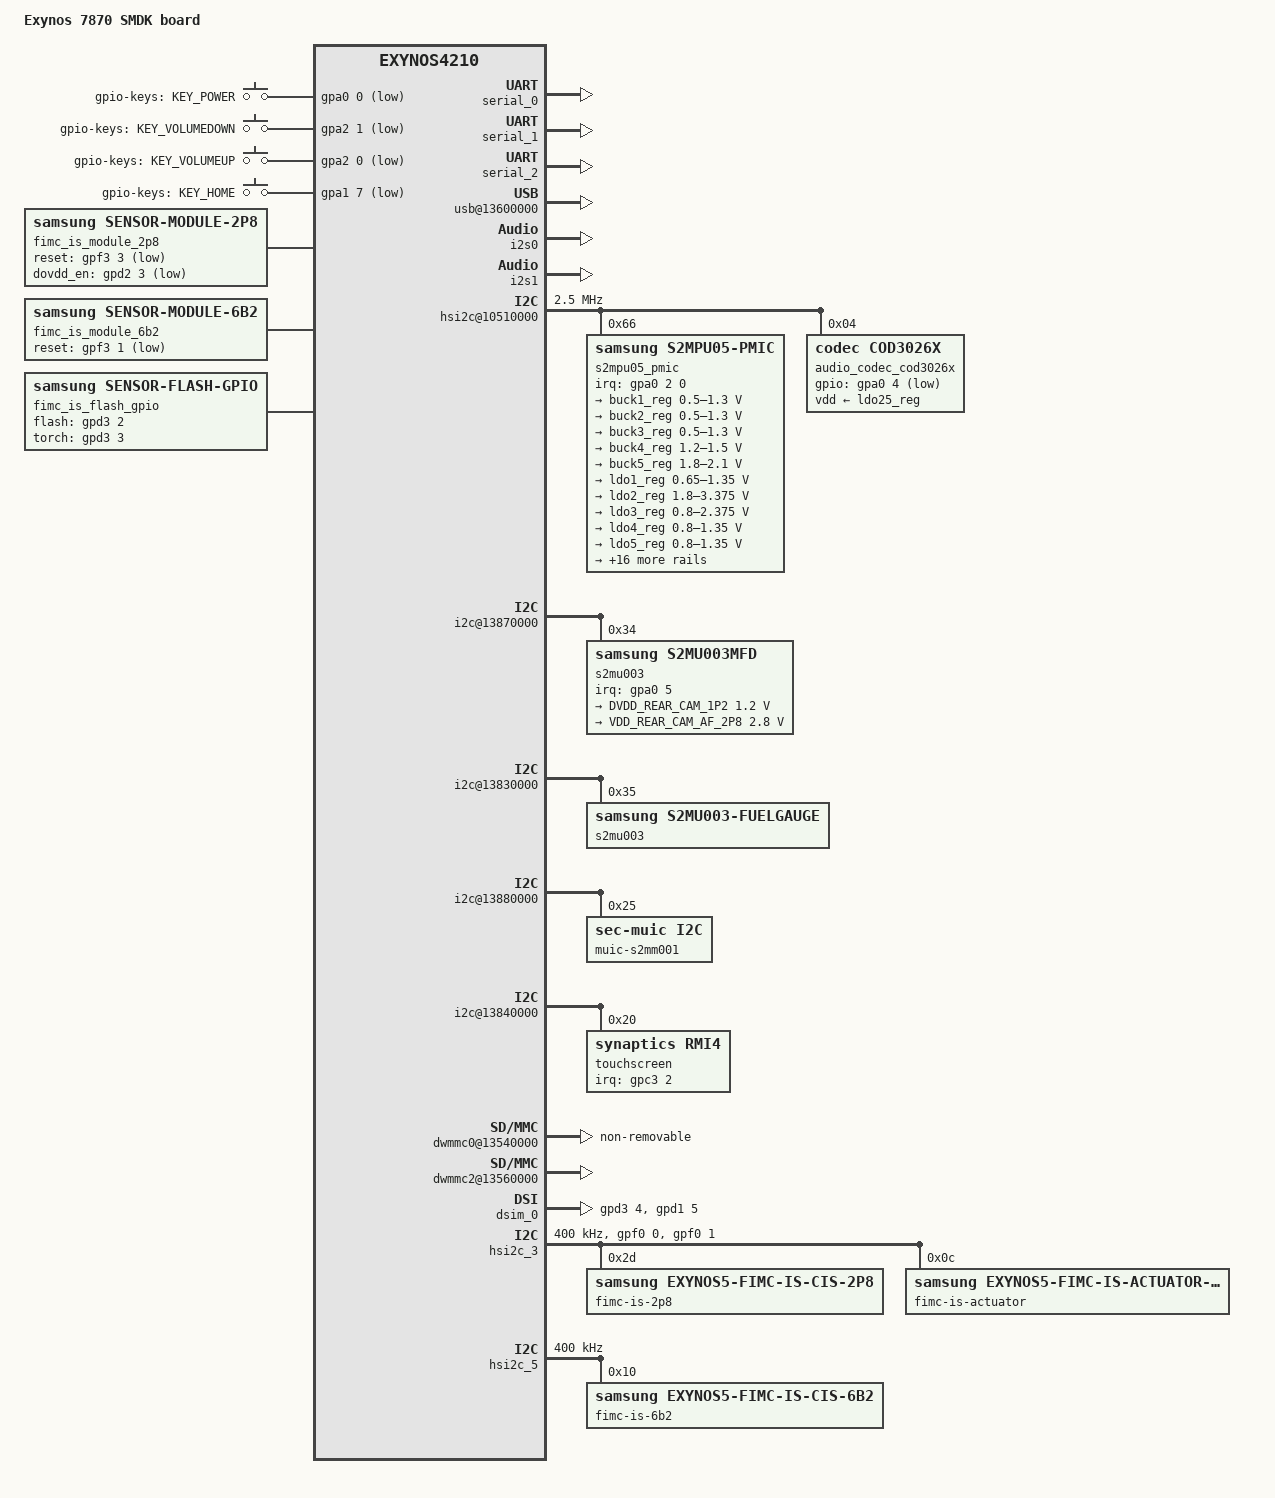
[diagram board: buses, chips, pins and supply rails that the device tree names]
/*
 * SAMSUNG UNIVERSAL8890 board device tree source
 *
 * Copyright (c) 2013 Samsung Electronics Co., Ltd.
 *		http://www.samsung.com
 *
 * This program is free software; you can redistribute it and/or modify
 * it under the terms of the GNU General Public License version 2 as
 * published by the Free Software Foundation.
*/

/dts-v1/;
#include "exynos7870-rmem-2000MB.dtsi"
#include "exynos7870.dtsi"
#include "modem-ss315ap-pdata.dtsi"

/ {
	model = "Exynos 7870 SMDK board";
	compatible = "samsung,exynos7870", "samsung,exynos4210";

	ect {
		parameter_address = <0x90000000>;
		parameter_size = <0x14000>;	/* u-boot always overwrites this value. */
	};

	memory@40000000 {
		device_type = "memory";
		reg = <0x0 0x40000000 0x80000000>;
	};

	chosen {
		bootargs = "console=ttySAC2,115200 ess_setup=0x46000000 androidboot.hardware=samsungexynos7870 androidboot.selinux=disabled firmware_class.path=/vendor/firmware reserve-fimc=0";
		linux,initrd-start = <0x42000000>;
		linux,initrd-end = <0x420FFFFF>;
	};

	fixed-rate-clocks {
		oscclk {
			compatible = "samsung,exynos7870-oscclk";
			clock-frequency = <26000000>;
		};
	};

	reserved-memory {
		#address-cells = <2>;
		#size-cells = <1>;
		ranges;

		mfc_fw {
			compatible = "exynos5433-ion,mfc_fw";
			secure;
			reg = <0x0 0xAE800000 0x200000>;
			id = <8>;
		};

		mfc_nfw {
			compatible = "exynos5433-ion,mfc_nfw";
			reg = <0x0 0xAE600000 0x200000>;
			id = <12>;
		};
	};

	serial_0: uart@13810000 {
		status = "okay";
	};

	serial_1: uart@13800000 {
		status = "okay";
	};

	serial_2: uart@13820000 {
		status = "okay";
	};

	usb@13600000 {
		status = "okay";

		dwc3 {
			maximum-speed = "high-speed";
			dr_mode = "otg";
			is_not_vbus_pad;
		};
	};


	pinctrl_1: pinctrl@148C0000 {
		compatible = "samsung,exynos7870-pinctrl";
		reg = <0x0 0x148C0000 0x1000>;
		interrupts = <0 68 0>;
	};

	s1402x: s1402x@14880000 {
		pinctrl-names = "default", "idle";
		pinctrl-0 = <&i2s_pmic_bus
				&i2s_amp_bus>;
		pinctrl-1 = <&i2s_pmic_bus_idle
				&i2s_amp_bus_idle> ;
		bck-mcko-mode;
		status = "okay";
	};

	i2s0: i2s@148A0000 {
		status = "okay";
	};

	i2s1: i2s@148B0000 {
		status = "okay";
	};

	audio_cp_dummy: cp_dummy {
			compatible = "samsung,cp_dummy";
			status = "okay";
	};

	audio_fm_dummy: fm_dummy {
			compatible = "samsung,fm_dummy";
			status = "okay";
	};

	audio_bt_dummy: bt_dummy {
			compatible = "samsung,bt_dummy";
			status = "okay";
	};

	audio_codec_dummy: dummy-codec {
			compatible = "samsung,dummy-codec";
			status = "okay";
	};

	gpio_keys {
		compatible = "gpio-keys";
		pinctrl-names = "default";
		pinctrl-0 = <&key_power &key_voldown &key_volup &key_home>;
		#address-cells = <1>;
		#size-cells = <0>;

		button@1 {
			label = "gpio-keys: KEY_POWER";
			interrupts = <0 0 0>;
			interrupt-parent = <&gpa0>;
			linux,code = <116>;
			gpios = <&gpa0 0 0xf>;
			gpio-key,wakeup = <1>;
		};
		button@2 {
			label = "gpio-keys: KEY_VOLUMEDOWN";
			interrupts = <1 0 0>;
			interrupt-parent = <&gpa2>;
			linux,code = <114>;
			gpios = <&gpa2 1 0xf>;
		};
		button@3 {
			label = "gpio-keys: KEY_VOLUMEUP";
			interrupts = <0 0 0>;
			interrupt-parent = <&gpa2>;
			linux,code = <115>;
			gpios = <&gpa2 0 0xf>;
		};
		button@4 {
			label = "gpio-keys: KEY_HOME";
			interrupts = <7 0 0>;
			interrupt-parent = <&gpa1>;
			linux,code = <172>;
			gpios = <&gpa1 7 0xf>;
			gpio-key,wakeup = <1>;
		};
	};

	pinctrl@139F0000 {
		key_power: key-power {
			samsung,pins = "gpa0-0";
			samsung,pin-function = <0xf>;
			samsung,pin-pud = <0>;
			samsung,pin-drv = <0>;
		};

		key_voldown: key-voldown {
			samsung,pins = "gpa2-1";
			samsung,pin-function = <0xf>;
			samsung,pin-pud = <0>;
			samsung,pin-drv = <0>;
		};

		key_volup: key-volup {
			samsung,pins = "gpa2-0";
			samsung,pin-function = <0xf>;
			samsung,pin-pud = <0>;
			samsung,pin-drv = <0>;
		};

		key_home: key-home {
			samsung,pins = "gpa1-7";
			samsung,pin-function = <0xf>;
			samsung,pin-pud = <0>;
			samsung,pin-drv = <0>;
		};

		pmic_irq: pmic-irq {
			samsung,pins = "gpa0-2";
			samsung,pin-pud = <3>;
			samsung,pin-drv = <3>;
		};

		cod3026_irq: cod3026-irq {
			samsung,pins = "gpa0-4";
			samsung,pin-pud = <3>;
			samsung,pin-drv = <3>;
		};

		if_irq: if-irq {
			samsung,pins = "gpa0-5";
			samsung,pin-pud = <3>;
			samsung,pin-drv = <3>;
		};

		muic_irq: muic-irq {
			samsung,pins = "gpa0-7";
			samsung,pin-function = <0>;
			samsung,pin-pud = <0>;
			samsung,pin-drv = <0>;
		};
	};

	pinctrl@139B0000 {
		/* Warm reset information from AP */
		pm_wrsti: pm-wrsti {
			samsung,pins = "gpd1-0";
			samsung,pin-con-pdn = <3>;
		};
	};

	hsi2c@10510000 {
		status = "okay";
		samsung,hs-mode;
		clock-frequency = <2500000>;
		samsung,hsi2c-batcher;
		#address-cells = <1>;
		#size-cells = <0>;

		s2mpu05_pmic@66 {
			compatible = "samsung,s2mpu05-pmic";
			reg = <0x66>;
			ten-bit-address;
			interrupts = <2 0 0>;
			interrupt-parent = <&gpa0>;
			pinctrl-names = "default";
			pinctrl-0 = <&pmic_irq &pm_wrsti>;
			g3d_en = <1>; /* 1 : enable , 0 : disable */
			buck2en_pin = "etc1-3";
			buck2en_addr = "139B0080.pinctrl";
			/* RTC: wtsr/smpl */
			wtsr_en = <1>; /* enable */
			smpl_en = <1>; /* enable */
			wtsr_timer_val = <3>;   /* 1000ms */
			smpl_timer_val = <4>;   /* 500ms */
			check_jigon = <0>; /* do not check jigon */
			/* RTC: If it's first boot, reset rtc to 1/1/2015 12:00:00(Thu) */
			init_time,sec = <0>;
			init_time,min = <0>;
			init_time,hour = <12>;
			init_time,mday = <1>;
			init_time,mon = <0>;
			init_time,year = <115>;
			init_time,wday = <4>;

			regulators {
				buck1_reg: BUCK1 {
					regulator-name = "BUCK1";
					regulator-min-microvolt = <500000>;
					regulator-max-microvolt = <1300000>;
					regulator-always-on;
					regulator-boot-on;
					regulator-ramp-delay = <12000>;
					regulator-initial-mode = <1>;
				};

				buck2_reg: BUCK2 {
					regulator-name = "BUCK2";
					regulator-min-microvolt = <500000>;
					regulator-max-microvolt = <1300000>;
					regulator-always-on;
					regulator-boot-on;
					regulator-ramp-delay = <12000>;
					regulator-initial-mode = <2>;		/* MIF mode */
					regulator-expected-consumer = <4>;
				};

				buck3_reg: BUCK3 {
					regulator-name = "BUCK3";
					regulator-min-microvolt = <500000>;
					regulator-max-microvolt = <1300000>;
					regulator-always-on;
					regulator-boot-on;
					regulator-ramp-delay = <12000>;
					regulator-initial-mode = <2>;
				};

				buck4_reg: BUCK4 {
					regulator-name = "BUCK4";
					regulator-min-microvolt = <1200000>;
					regulator-max-microvolt = <1500000>;
					regulator-always-on;
					regulator-boot-on;
					regulator-ramp-delay = <12000>;
					regulator-initial-mode = <2>;
				};

				buck5_reg: BUCK5 {
					regulator-name = "BUCK5";
					regulator-min-microvolt = <1800000>;
					regulator-max-microvolt = <2100000>;
					regulator-always-on;
					regulator-boot-on;
					regulator-ramp-delay = <12000>;
					regulator-initial-mode = <2>;
				};

				ldo1_reg: LDO1 {
					regulator-name = "vdd_ldo1";
					regulator-min-microvolt = <650000>;
					regulator-max-microvolt = <1350000>;
					regulator-always-on;
					regulator-boot-on;
					regulator-ramp-delay = <12000>;
					regulator-initial-mode = <3>;
				};

				ldo2_reg: LDO2 {
					regulator-name = "vqmmc";
					regulator-min-microvolt = <1800000>;
					regulator-max-microvolt = <3375000>;
					regulator-boot-on;
					regulator-always-on;
					regulator-ramp-delay = <12000>;
					regulator-initial-mode = <1>;
				};

				ldo3_reg: LDO3 {
					regulator-name = "vdd_ldo3";
					regulator-min-microvolt = <800000>;
					regulator-max-microvolt = <2375000>;
					regulator-boot-on;
					regulator-always-on;
					regulator-ramp-delay = <12000>;
					regulator-initial-mode = <3>;
				};

				ldo4_reg: LDO4 {
					regulator-name = "vdd_ldo4";
					regulator-min-microvolt = <800000>;
					regulator-max-microvolt = <1350000>;
					regulator-boot-on;
					regulator-always-on;
					regulator-ramp-delay = <12000>;
					regulator-initial-mode = <1>;
				};

				ldo5_reg: LDO5 {
					regulator-name = "vdd_ldo5";
					regulator-min-microvolt = <800000>;
					regulator-max-microvolt = <1350000>;
					regulator-boot-on;
					regulator-always-on;
					regulator-ramp-delay = <12000>;
					regulator-initial-mode = <3>;
				};

				ldo6_reg: LDO6 {
					regulator-name = "vdd_ldo6";
					regulator-min-microvolt = <800000>;
					regulator-max-microvolt = <1350000>;
					regulator-boot-on;
					regulator-always-on;
					regulator-ramp-delay = <12000>;
					regulator-initial-mode = <1>;
				};

				ldo7_reg: LDO7 {
					regulator-name = "vdd_ldo7";
					regulator-min-microvolt = <800000>;
					regulator-max-microvolt = <2375000>;
					regulator-boot-on;
					regulator-always-on;
					regulator-ramp-delay = <12000>;
					regulator-initial-mode = <1>;
				};

				ldo8_reg: LDO8 {
					regulator-name = "vdd_ldo8";
					regulator-min-microvolt = <1800000>;
					regulator-max-microvolt = <3375000>;
					regulator-boot-on;
					regulator-always-on;
					regulator-ramp-delay = <12000>;
					regulator-initial-mode = <1>;
				};

				ldo9_reg: LDO9 {
					regulator-name = "vdd_ldo9";
					regulator-min-microvolt = <650000>;
					regulator-max-microvolt = <1350000>;
					regulator-always-on;
					regulator-ramp-delay = <12000>;
					regulator-initial-mode = <1>;
				};

				ldo10_reg: LDO10 {
					regulator-name = "vdd_ldo10";
					regulator-min-microvolt = <650000>;
					regulator-max-microvolt = <1350000>;
					regulator-always-on;
					regulator-ramp-delay = <12000>;
					regulator-initial-mode = <1>;
				};

				ldo25_reg: LDO25 {
					regulator-name = "vdd_ldo25";
					regulator-min-microvolt = <800000>;
					regulator-max-microvolt = <2375000>;
					regulator-always-on;
					regulator-boot-on;
					regulator-ramp-delay = <12000>;
					regulator-initial-mode = <1>;
				};

				ldo26_reg: LDO26 {
					regulator-name = "vdd_ldo26";
					regulator-min-microvolt = <1800000>;
					regulator-max-microvolt = <3375000>;
					regulator-always-on;
					regulator-ramp-delay = <12000>;
					regulator-initial-mode = <1>;
				};

				ldo27_reg: LDO27 {
					regulator-name = "vdd_ldo27";
					regulator-min-microvolt = <800000>;
					regulator-max-microvolt = <2375000>;
					regulator-always-on;
					regulator-ramp-delay = <12000>;
					regulator-initial-mode = <1>;
				};

				ldo28_reg: LDO28 {
					regulator-name = "vmmc";
					regulator-min-microvolt = <1800000>;
					regulator-max-microvolt = <3375000>;
					regulator-always-on;
					regulator-ramp-delay = <12000>;
					regulator-initial-mode = <1>;
				};

				ldo29_reg: LDO29 {
					regulator-name = "vdd_ldo29";
					regulator-min-microvolt = <1800000>;
					regulator-max-microvolt = <3375000>;
					regulator-always-on;
					regulator-ramp-delay = <12000>;
					regulator-initial-mode = <1>;
				};

				ldo30_reg: LDO30 {
					regulator-name = "tsp_io";
					regulator-min-microvolt = <1800000>;
					regulator-max-microvolt = <2375000>;
					regulator-boot-on;
					regulator-always-on;
					regulator-ramp-delay = <12000>;
					regulator-initial-mode = <3>;
				};

				ldo31_reg: LDO31 {
					regulator-name = "vdd_ldo31";
					regulator-min-microvolt = <1800000>;
					regulator-max-microvolt = <3375000>;
					regulator-boot-on;
					regulator-always-on;
					regulator-ramp-delay = <12000>;
					regulator-initial-mode = <1>;
				};

				ldo32_reg: LDO32 {
					regulator-name = "vdd_ldo32";
					regulator-min-microvolt = <1800000>;
					regulator-max-microvolt = <3375000>;
					regulator-always-on;
					regulator-ramp-delay = <12000>;
					regulator-initial-mode = <1>;
				};

				ldo33_reg: LDO33 {
					regulator-name = "vdd_ldo33";
					regulator-min-microvolt = <1800000>;
					regulator-max-microvolt = <3375000>;
					regulator-boot-on;
					regulator-always-on;
					regulator-ramp-delay = <12000>;
					regulator-initial-mode = <1>;
				};

				ldo34_reg: LDO34 {
					regulator-name = "vdd_ldo34";
					regulator-min-microvolt = <1800000>;
					regulator-max-microvolt = <3375000>;
					regulator-always-on;
					regulator-ramp-delay = <12000>;
					regulator-initial-mode = <1>;
				};

				ldo35_reg: LDO35 {
					regulator-name = "vdd_ldo35";
					regulator-min-microvolt = <1800000>;
					regulator-max-microvolt = <3375000>;
					regulator-always-on;
					regulator-ramp-delay = <12000>;
					regulator-initial-mode = <1>;
				};
			};
		};

		audio_codec_cod3026x: cod3026x@04 {
			compatible = "codec,cod3026x";
			reg = <0x04>;
			ten-bit-address;
			vdd-supply = <&ldo25_reg>;
			pinctrl-names = "default";
			pinctrl-0 = <&cod3026_irq>;
			interrupt-parent = <&gpa0>;
			gpios = <&gpa0 4 0xf>;
			mic-bias1-voltage = <3>;
			mic-bias2-voltage = <3>;
			mic-bias-ldo-voltage = <3>;
		};
	};

	i2c@13870000 {
		status = "okay";
		s2mu003@34 {
			compatible = "samsung,s2mu003mfd";
			reg = <0x34>;
			fuelgauge_reg = <0x35>;
			pinctrl-names = "default";
			pinctrl-0 = <&if_irq>;
			s2mu003,irq-gpio = <&gpa0 5 0>;

			regulators {
				s2mu003-buck1 {
					regulator-name = "DVDD_REAR_CAM_1P2";
					regulator-min-microvolt = <1200000>;
					regulator-max-microvolt = <1200000>;
					regulator-boot-on;
				};
				s2mu003-ldo1 {
					regulator-name = "VDD_REAR_CAM_AF_2P8";
					regulator-min-microvolt = <2800000>;
					regulator-max-microvolt = <2800000>;
					regulator-boot-on;
				};
			};

			leds {
				compatible = "samsung,s2mu003led";
				torch-gpio = <&gpd3 3 0>;
				flash-gpio = <&gpd3 2 0>;

				status = "okay";
				s2mu003-leds1 {
					ledname = "leds-sec1";
					id = <0>;
					brightness = <0x17>;
					timeout = <0x0>;
					max-brightness = <0x15>;
				};

				s2mu003-leds2 {
					ledname = "leds-sec2";
					id = <1>;
					brightness = <0x01>;
					timeout = <0x0>;
					max-brightness = <0xf>;
				};
			};
		};
	};

	s2mu003-charger {
		status = "disable";
		compatible = "samsung,s2mu003-charger";
		battery,is_1MHz_switching = <1>;
		battery,is_fixed_switching = <1>;
		battery,chg_gpio_en = <0>;
		battery,chg_polarity_en = <0>;
		battery,chg_gpio_status = <0>;
		battery,chg_polarity_status = <0>;
		battery,chg_float_voltage = <4400>;
	};

	i2c@13830000 {
		status = "okay";
		s2mu003@34 {
			compatible = "samsung,s2mu003-fuelgauge";
			reg = <0x35>;
			pinctrl-names = "default";
		};
	};

	s2mu003-fuelgauge@35 {
		fuelgauge,fuel_alert_soc = <1>;
		fuelgauge,capacity_max = <1000>;
		fuelgauge,capacity_max_margin = <30>;
		fuelgauge,capacity_min = <0>;
		fuelgauge,capacity_calculation_type = <28>;
		fuelgauge,repeated_fuelalert;
		fuelgauge,type_str = "SDI";
	};

	battery {
		battery,charger_name = "sec-charger";
		battery,fuelgauge_name = "sec-fuelgauge";

		battery,thermal_source = <2>; /* SEC_BATTERY_THERMAL_SOURCE_ADC */
		battery,temp_table_adc = <57 61 71 84 98 138 194 275 391 753 1231>;
		battery,temp_table_data = <600 550 500 450 400 300 200 100 0 (-20) (-40)>;

		battery,input_current_limit = <1800 0 0 1500 460 900 1000 460 1000 0 820 1900 1000 0 0 400 700 1300 300 1000 1500 0 1667 1000 80 1800>;
		battery,fast_charging_current = <2100 0 0 1300 460 1200 1000 460 1200 0 1000 1600 1000 0 0 400 700 1300 300 1000 1500 0 3150 1000 80 1800>;
		battery,full_check_current_1st = <350 0 0 250 250 250 250 250 250 0 250 250 250 0 0 350 350 350 350 350 350 0 350 350 0 350>;
		battery,full_check_current_2nd = <3000 0 0 3000 3000 3000 3000 3000 3000 0 3000 3000 0 0 0 3000 3000 3000 3000 3000 3000 0 3000 3000 3000 3000>;
		battery,input_current_limit_new = <1800 0 0 1500 460 900 1000 460 1000 0 820 1900 1000 0 0 400 700 1300 300 1000 1500 0 1667 1000 80 1800>;
		battery,fast_charging_current_new = <2100 0 0 1700 460 1200 1000 460 1200 0 1000 1600 1000 0 0 400 700 1300 300 1000 1500 0 3150 1000 80 1800>;

	};
	i2c@13880000 {
		status = "okay";
		muic-s2mm001@25 {
			compatible = "sec-muic,i2c";
			reg = <0x25>;
			pinctrl-names = "default";
			muic,muic_int = <&gpa0 7 0>;
		};
	};

	sound {
		compatible = "samsung,smdk7870-cod3026x";
		samsung,audio-cpu = <&i2s0	/* primary */
			&i2s0			 /* secondary */
			&audio_cp_dummy
			&audio_bt_dummy
			&audio_fm_dummy
			&i2s1			/*AMP for AP */
			&audio_cp_dummy>;	/*AMP for CP */
		samsung,audio-codec = <&audio_codec_cod3026x
			&audio_codec_cod3026x
			&audio_codec_cod3026x
			&audio_codec_dummy
			&audio_codec_cod3026x
			&audio_codec_dummy
			&audio_codec_dummy>;

		samsung,auxdev = <&s1402x>;
		status = "okay";
	};

	pinctrl@139D0000 {
		attn_irq: attn-irq {
			samsung,pins = "gpc3-2";
			samsung,pin-function = <0xf>;
			samsung,pin-pud = <0>;
			samsung,pin-drv = <0>;
		};
		attn_input: attn-input {
			samsung,pins = "gpc3-2";
			samsung,pin-function = <0>;
			samsung,pin-pud = <1>;
			samsung,pin-drv = <0>;
		};
	};

	i2c@13840000 {
		status = "okay";
		#address-cells = <1>;
		#size-cells = <0>;
		touchscreen@20 {
			compatible = "synaptics,rmi4";
			reg = <0x20>;
			pinctrl-names = "on_state", "off_state";
			pinctrl-0 = <&attn_irq>;
			pinctrl-1 = <&attn_input>;
			synaptics,irq_gpio = <&gpc3 2 0>;
			synaptics,irq_type = <8200>;
			synaptics,max_coords = <1079 1919>;     /* x y */
			synaptics,num_lines = <29 16>;          /* rx tx */

			synaptics,regulator_dvdd = "tsp_io";
			synaptics,regulator_avdd = "vdd_ldo31";
			synaptics,project_name = "joshua", "smdk7870";
		};
	};

	usb_notifier {
		compatible = "samsung,usb-notifier";
		udc = <&udc>;
	};

	dwmmc0@13540000 {
		status = "okay";
		num-slots = <1>;
		broken-cd;
		bypass-smu;
		fixed_voltage;
		cap-mmc-highspeed;
		clock-gate;
		mmc-hs200-1_8v;
		mmc-hs400-1_8v;
		supports-hs400-enhanced-strobe;
		use-fine-tuning;
		bypass-for-allpass;
		card-init-hwacg-ctrl;
		switch_transfer;
		fifo-depth = <0x40>;
		non-removable;
		card-detect-delay = <200>;
		clock-frequency = <800000000>;
		samsung,dw-mshc-ciu-div = <3>;
		samsung,dw-mshc-txdt-crc-timer-fastlimit = <0x12>;
		samsung,dw-mshc-txdt-crc-timer-initval = <0x14>;
		samsung,dw-mshc-ddr200-delay-line = <0x60>;
		samsung,dw-mshc-sdr-timing = <3 0 4 0>;
		samsung,dw-mshc-ddr-timing = <3 0 4 2>;
		samsung,dw-mshc-hs200-timing = <3 0 3 0>;
		samsung,dw-mshc-ddr200-timing = <1 0 4 0>;
		samsung,dw-mshc-ddr200-ulp-timing = <3 0 3 0>;
		clk_pin = "gpr0-0";
		clk_addr = "13750000.pinctrl";
		num-ref-clks = <10>;
		pinctrl-names = "default";
		ciu_clkin = <25 50 50 100 200 100 50 200 200 200>;
		pinctrl-0 = <&sd0_clk &sd0_cmd &sd0_rdqs &sd0_bus1 &sd0_bus4 &sd0_bus8>;
		slot@0 {
			reg = <0>;
			bus-width = <8>;
		};
	};

	dwmmc2@13560000 {
		status = "okay";
		num-slots = <1>;
		cap-sd-highspeed;
		supports-sdr104-mode;
		bypass-smu;
		bypass-for-allpass;
		clock-gate;
		caps-control;
		use-fine-tuning;
		card-init-hwacg-ctrl;
		switch_transfer;
		fifo-depth = <0x40>;
		card-detect-delay = <200>;
		samsung,dw-mshc-ciu-div = <3>;
		samsung,dw-mshc-sdr-timing = <3 0 2 0>;
		samsung,dw-mshc-ddr-timing = <3 0 2 1>;
		clk_pin = "gpr4-0";
		clk_addr = "13750000.pinctrl";
		num-ref-clks = <8>;
		ciu_clkin = <25 50 50 100 200 100 200 400>;
		pinctrl-names = "default";
		pinctrl-0 = <&sd2_clk &sd2_cmd &sd2_bus1 &sd2_bus4 &dwmmc2_cd_ext_irq>;
		cd-gpio = <&gpa0 1 0xf>;
		slot@0 {
			reg = <0>;
			bus-width = <4>;
			disable-wp;
		};
	};

	ion {
		compatible = "samsung,exynos5430-ion";
	};

	decon_fb@14830000 {
		gpios = <&gpa0 6 0xf>; /* te_signal XEINT_6 */
		psr_mode = <2>; /* 0: video mode, 1: DP command mode, 2: MIPI command mode */
		disp-pll-clk = <142000000>;
		disp-eclk = <160000000>;
		disp-vclk = <142000000>;
		disp-dvfs = <200000>;
		status = "okay";
	};

	dsim_0: dsim@14800000 {
		lcd_info = <&s6e3fa0>;
		/* lcd reset, power */
		gpios = <&gpd3 4 0x1>, <&gpd1 5 0x1>;
		status = "okay";
	};

	s6e3fa0: s6e3fa0_fhd {
		mode = <2>; /* 0: video mode, 1: DP command mode, 2: MIPI command mode */
		resolution = <1080 1920>;
		size = <70 121>;
		timing,refresh = <60>;
		timing,h-porch = <1 1 1>;
		timing,v-porch = <10 3 1>;
		timing,dsi-hs-clk = <1100>;
		timing,pms = <3 127 0>;
		timing,dsi-escape-clk = <20>;
	};

	tmuctrl_0: tmuctrl_CPUCL0@10130000 {
		compatible = "samsung,exynos7870-tmu";
		reg = <0x0 0x10130000 0x200>;
		interrupts = <0 435 0>;
		max_trigger_level = <8>;
		non_hw_trigger_levels = <7>;

		/* Throttling Level */
		trigger_levels_0 = <76>;
		trigger_levels_1 = <81>;
		trigger_levels_2 = <86>;
		trigger_levels_3 = <91>;
		trigger_levels_4 = <96>;
		trigger_levels_5 = <101>;
		trigger_levels_6 = <111>;
		trigger_levels_7 = <115>;

		trigger_enable_0 = <ENABLE>;
		trigger_enable_1 = <ENABLE>;
		trigger_enable_2 = <ENABLE>;
		trigger_enable_3 = <ENABLE>;
		trigger_enable_4 = <ENABLE>;
		trigger_enable_5 = <ENABLE>;
		trigger_enable_6 = <ENABLE>;
		trigger_enable_7 = <ENABLE>;

		trigger_type_0 = <THROTTLE_ACTIVE>;
		trigger_type_1 = <THROTTLE_ACTIVE>;
		trigger_type_2 = <THROTTLE_ACTIVE>;
		trigger_type_3 = <THROTTLE_ACTIVE>;
		trigger_type_4 = <THROTTLE_ACTIVE>;
		trigger_type_5 = <THROTTLE_ACTIVE>;
		trigger_type_6 = <THROTTLE_ACTIVE>;
		trigger_type_7 = <HW_TRIP>;

		freq_tab_count = <5>;

		freq_clip_max_0 = <1586000>;
		freq_clip_max_1 = <1248000>;
		freq_clip_max_2 = <1248000>;
		freq_clip_max_3 = <546000>;
		freq_clip_max_4 = <546000>;

		cooling_level_0 = <76>;
		cooling_level_1 = <81>;
		cooling_level_2 = <86>;
		cooling_level_3 = <91>;
		cooling_level_4 = <96>;
	};

	tmuctrl_1: tmuctrl_CPUCL1@10130000 {
		compatible = "samsung,exynos7870-tmu";
		reg = <0x0 0x10130000 0x200>;
		interrupts = <0 435 0>;
		max_trigger_level = <8>;
		non_hw_trigger_levels = <7>;

		/* Throttling Level */
		trigger_levels_0 = <76>;
		trigger_levels_1 = <81>;
		trigger_levels_2 = <86>;
		trigger_levels_3 = <91>;
		trigger_levels_4 = <96>;
		trigger_levels_5 = <101>;
		trigger_levels_6 = <111>;
		trigger_levels_7 = <115>;

		trigger_enable_0 = <ENABLE>;
		trigger_enable_1 = <ENABLE>;
		trigger_enable_2 = <ENABLE>;
		trigger_enable_3 = <ENABLE>;
		trigger_enable_4 = <ENABLE>;
		trigger_enable_5 = <ENABLE>;
		trigger_enable_6 = <ENABLE>;
		trigger_enable_7 = <ENABLE>;

		trigger_type_0 = <THROTTLE_ACTIVE>;
		trigger_type_1 = <THROTTLE_ACTIVE>;
		trigger_type_2 = <THROTTLE_ACTIVE>;
		trigger_type_3 = <THROTTLE_ACTIVE>;
		trigger_type_4 = <THROTTLE_ACTIVE>;
		trigger_type_5 = <THROTTLE_ACTIVE>;
		trigger_type_6 = <THROTTLE_ACTIVE>;
		trigger_type_7 = <HW_TRIP>;

		freq_tab_count = <5>;

		freq_clip_max_0 = <1586000>;
		freq_clip_max_1 = <1248000>;
		freq_clip_max_2 = <1248000>;
		freq_clip_max_3 = <546000>;
		freq_clip_max_4 = <546000>;

		cooling_level_0 = <76>;
		cooling_level_1 = <81>;
		cooling_level_2 = <86>;
		cooling_level_3 = <91>;
		cooling_level_4 = <96>;

		hotplug_enable = <1>;
		hotplug_in_threshold = <91>;
		hotplug_out_threshold = <96>;
	};

	tmuctrl_2: tmuctrl_G3D@10130000 {
		compatible = "samsung,exynos7870-tmu";
		reg = <0x0 0x10130000 0x200>;
		interrupts = <0 435 0>;
		max_trigger_level = <8>;
		non_hw_trigger_levels = <7>;

		/* Throttling Level */
		trigger_levels_0 = <76>;
		trigger_levels_1 = <81>;
		trigger_levels_2 = <86>;
		trigger_levels_3 = <91>;
		trigger_levels_4 = <96>;
		trigger_levels_5 = <101>;
		trigger_levels_6 = <111>;
		trigger_levels_7 = <115>;

		trigger_enable_0 = <ENABLE>;
		trigger_enable_1 = <ENABLE>;
		trigger_enable_2 = <ENABLE>;
		trigger_enable_3 = <ENABLE>;
		trigger_enable_4 = <ENABLE>;
		trigger_enable_5 = <ENABLE>;
		trigger_enable_6 = <ENABLE>;
		trigger_enable_7 = <ENABLE>;

		trigger_type_0 = <THROTTLE_ACTIVE>;
		trigger_type_1 = <THROTTLE_ACTIVE>;
		trigger_type_2 = <THROTTLE_ACTIVE>;
		trigger_type_3 = <THROTTLE_ACTIVE>;
		trigger_type_4 = <THROTTLE_ACTIVE>;
		trigger_type_5 = <THROTTLE_ACTIVE>;
		trigger_type_6 = <THROTTLE_ACTIVE>;
		trigger_type_7 = <HW_TRIP>;

		freq_tab_count = <6>;

		freq_clip_max_0 = <1246000>;
		freq_clip_max_1 = <1146000>;
		freq_clip_max_2 = <1001000>;
		freq_clip_max_3 = <728000>;
		freq_clip_max_4 = <343000>;
		freq_clip_max_5 = <343000>;

		cooling_level_0 = <76>;
		cooling_level_1 = <81>;
		cooling_level_2 = <86>;
		cooling_level_3 = <91>;
		cooling_level_4 = <96>;
		cooling_level_5 = <101>;

		/* gpu cooling related table */
		gpu_idx_num = <6>;
		/* flags, driver_data(index), frequency */
		gpu_cooling_table = < 0 0 1001000
				      0 1 845000
				      0 2 728000
				      0 3 676000
				      0 4 343000
				      0 5 TABLE_END>;
	};

	/* modem_interface */
	mif_pdata {
		reg = <0 0xAFFFF000 0x1000>, <0 0x10000 0x14>;
		pinctrl-names = "default";
		pinctrl-0 = <&gpio_nfc>;

		mif,ap_clk_table = <
			/* khz */
			1586000
			1482000
			1352000
			1248000
			1144000
			1014000
			902000
			839000
			757000
			676000
			546000
			449000
			343000
			>;

		mif,mif_clk_table = <
			/* khz */
			902000
			825000
			728000
			676000
			546000
			451000
			275000
			>;
	};

	fimc_is@14400000 {
		rear_sensor_id = <20>; /* 2P8 */
		front_sensor_id = <7>; /* 6B2 */
		use_module_check;
		skip_cal_loading;
		fimc_is_dvfs {
			#define DVFS_INT_L0 690000
			#define DVFS_INT_L1 680000
			#define DVFS_INT_L2 670000
			#define DVFS_INT_L3 660000
			#define DVFS_INT_L4 650000
			#define DVFS_INT_L5 640000
			#define DVFS_INT_L6 630000
			#define DVFS_INT_L7 620000
			#define DVFS_INT_L8 610000
			#define DVFS_INT_L9 600000
			#define DVFS_INT_L10 468000
			#define DVFS_INT_L11 400000
			#define DVFS_INT_L12 336000
			#define DVFS_INT_L13 255000
			#define DVFS_INT_L14 200000
			#define DVFS_INT_L15 168000
			#define DVFS_INT_L16 127000

			#define DVFS_CAM_L0 690000
			#define DVFS_CAM_L1 680000
			#define DVFS_CAM_L2 670000
			#define DVFS_CAM_L3 660000
			#define DVFS_CAM_L4 650000
			#define DVFS_CAM_L5 640000
			#define DVFS_CAM_L6 630000
			#define DVFS_CAM_L7 620000
			#define DVFS_CAM_L8 610000
			#define DVFS_CAM_L9 600000

			#define DVFS_MIF_L0 1794000
			#define DVFS_MIF_L1 1716000
			#define DVFS_MIF_L2 1539000
			#define DVFS_MIF_L3 1352000
			#define DVFS_MIF_L4 1144000
			#define DVFS_MIF_L5 1014000
			#define DVFS_MIF_L6 845000
			#define DVFS_MIF_L7 676000
			#define DVFS_MIF_L8 546000
			#define DVFS_MIF_L9 421000
			#define DVFS_MIF_L10 286000
			#define DVFS_MIF_L11 208000

			table0 {
				desc = "default Max version";

				default_int = <DVFS_INT_L0>;
				default_cam = <DVFS_CAM_L0>;
				default_mif = <DVFS_MIF_L0>;
				default_i2c = <0>;

				front_preview_int = <DVFS_INT_L0>;
				front_preview_cam = <DVFS_CAM_L0>;
				front_preview_mif = <DVFS_MIF_L0>;
				front_preview_i2c = <0>;

				front_capture_int = <DVFS_INT_L0>;
				front_capture_cam = <DVFS_CAM_L0>;
				front_capture_mif = <DVFS_MIF_L0>;
				front_capture_i2c = <0>;

				front_video_int = <DVFS_INT_L0>;
				front_video_cam = <DVFS_CAM_L0>;
				front_video_mif = <DVFS_MIF_L0>;
				front_video_i2c = <0>;

				front_video_whd_int = <DVFS_INT_L0>;
				front_video_whd_cam = <DVFS_CAM_L0>;
				front_video_whd_mif = <DVFS_MIF_L0>;
				front_video_whd_i2c = <0>;

				front_video_capture_int = <DVFS_INT_L0>;
				front_video_capture_cam = <DVFS_CAM_L0>;
				front_video_capture_mif = <DVFS_MIF_L0>;
				front_video_capture_i2c = <0>;

				front_video_whd_capture_int = <DVFS_INT_L0>;
				front_video_whd_capture_cam = <DVFS_CAM_L0>;
				front_video_whd_capture_mif = <DVFS_MIF_L0>;
				front_video_whd_capture_i2c = <0>;

				front_vt1_int = <DVFS_INT_L0>;
				front_vt1_cam = <DVFS_CAM_L0>;
				front_vt1_mif = <DVFS_MIF_L0>;
				front_vt1_i2c = <0>;

				front_vt2_int = <DVFS_INT_L0>;
				front_vt2_cam = <DVFS_CAM_L0>;
				front_vt2_mif = <DVFS_MIF_L0>;
				front_vt2_i2c = <0>;

				front_companion_preview_int = <DVFS_INT_L0>;
				front_companion_preview_cam = <DVFS_CAM_L0>;
				front_companion_preview_mif = <DVFS_MIF_L0>;
				front_companion_preview_i2c = <0>;

				front_companion_capture_int = <DVFS_INT_L0>;
				front_companion_capture_cam = <DVFS_CAM_L0>;
				front_companion_capture_mif = <DVFS_MIF_L0>;
				front_companion_capture_i2c = <0>;

				front_companion_video_int = <DVFS_INT_L0>;
				front_companion_video_cam = <DVFS_CAM_L0>;
				front_companion_video_mif = <DVFS_MIF_L0>;
				front_companion_video_i2c = <0>;

				front_companion_video_whd_int = <DVFS_INT_L0>;
				front_companion_video_whd_cam = <DVFS_CAM_L0>;
				front_companion_video_whd_mif = <DVFS_MIF_L0>;
				front_companion_video_whd_i2c = <0>;

				front_companion_video_capture_int = <DVFS_INT_L0>;
				front_companion_video_capture_cam = <DVFS_CAM_L0>;
				front_companion_video_capture_mif = <DVFS_MIF_L0>;
				front_companion_video_capture_i2c = <0>;

				front_companion_video_whd_capture_int = <DVFS_INT_L0>;
				front_companion_video_whd_capture_cam = <DVFS_CAM_L0>;
				front_companion_video_whd_capture_mif = <DVFS_MIF_L0>;
				front_companion_video_whd_capture_i2c = <0>;

				rear_preview_fhd_int = <DVFS_INT_L0>;
				rear_preview_fhd_cam = <DVFS_CAM_L0>;
				rear_preview_fhd_mif = <DVFS_MIF_L0>;
				rear_preview_fhd_i2c = <0>;

				rear_preview_whd_int = <DVFS_INT_L0>;
				rear_preview_whd_cam = <DVFS_CAM_L0>;
				rear_preview_whd_mif = <DVFS_MIF_L0>;
				rear_preview_whd_i2c = <0>;

				rear_preview_uhd_int = <DVFS_INT_L0>;
				rear_preview_uhd_cam = <DVFS_CAM_L0>;
				rear_preview_uhd_mif = <DVFS_MIF_L0>;
				rear_preview_uhd_i2c = <0>;

				rear_capture_int = <DVFS_INT_L0>;
				rear_capture_cam = <DVFS_CAM_L0>;
				rear_capture_mif = <DVFS_MIF_L0>;
				rear_capture_i2c = <0>;

				rear_video_fhd_int = <DVFS_INT_L0>;
				rear_video_fhd_cam = <DVFS_CAM_L0>;
				rear_video_fhd_mif = <DVFS_MIF_L0>;
				rear_video_fhd_i2c = <0>;

				rear_video_uhd_int = <DVFS_INT_L0>;
				rear_video_uhd_cam = <DVFS_CAM_L0>;
				rear_video_uhd_mif = <DVFS_MIF_L0>;
				rear_video_uhd_i2c = <0>;

				rear_video_fhd_capture_int = <DVFS_INT_L0>;
				rear_video_fhd_capture_cam = <DVFS_CAM_L0>;
				rear_video_fhd_capture_mif = <DVFS_MIF_L0>;
				rear_video_fhd_capture_i2c = <0>;

				rear_video_uhd_capture_int = <DVFS_INT_L0>;
				rear_video_uhd_capture_cam = <DVFS_CAM_L0>;
				rear_video_uhd_capture_mif = <DVFS_MIF_L0>;
				rear_video_uhd_capture_i2c = <0>;

				dual_preview_int = <DVFS_INT_L0>;
				dual_preview_cam = <DVFS_CAM_L0>;
				dual_preview_mif = <DVFS_MIF_L0>;
				dual_preview_i2c = <0>;

				dual_capture_int = <DVFS_INT_L0>;
				dual_capture_cam = <DVFS_CAM_L0>;
				dual_capture_mif = <DVFS_MIF_L0>;
				dual_capture_i2c = <0>;

				dual_video_int = <DVFS_INT_L0>;
				dual_video_cam = <DVFS_CAM_L0>;
				dual_video_mif = <DVFS_MIF_L0>;
				dual_video_i2c = <0>;

				dual_video_capture_int = <DVFS_INT_L0>;
				dual_video_capture_cam = <DVFS_CAM_L0>;
				dual_video_capture_mif = <DVFS_MIF_L0>;
				dual_video_capture_i2c = <0>;

				preview_high_speed_fps_int = <DVFS_INT_L0>;
				preview_high_speed_fps_cam = <DVFS_CAM_L0>;
				preview_high_speed_fps_mif = <DVFS_MIF_L0>;
				preview_high_speed_fps_i2c = <0>;

				video_high_speed_60fps_int = <DVFS_INT_L0>;
				video_high_speed_60fps_cam = <DVFS_CAM_L0>;
				video_high_speed_60fps_mif = <DVFS_MIF_L0>;
				video_high_speed_60fps_i2c = <0>;

				video_high_speed_120fps_int = <DVFS_INT_L0>;
				video_high_speed_120fps_cam = <DVFS_CAM_L0>;
				video_high_speed_120fps_mif = <DVFS_MIF_L0>;
				video_high_speed_120fps_i2c = <0>;

				video_high_speed_240fps_int = <DVFS_INT_L0>;
				video_high_speed_240fps_cam = <DVFS_CAM_L0>;
				video_high_speed_240fps_mif = <DVFS_MIF_L0>;
				video_high_speed_240fps_i2c = <0>;

				max_int = <DVFS_INT_L0>;
				max_cam = <DVFS_CAM_L0>;
				max_mif = <DVFS_MIF_L0>;
				max_i2c = <0>;
			};

			table1 {
				desc = "default Max version";

				default_int = <DVFS_INT_L0>;
				default_cam = <DVFS_CAM_L0>;
				default_mif = <DVFS_MIF_L0>;
				default_i2c = <0>;

				front_preview_int = <DVFS_INT_L0>;
				front_preview_cam = <DVFS_CAM_L0>;
				front_preview_mif = <DVFS_MIF_L0>;
				front_preview_i2c = <0>;

				front_capture_int = <DVFS_INT_L0>;
				front_capture_cam = <DVFS_CAM_L0>;
				front_capture_mif = <DVFS_MIF_L0>;
				front_capture_i2c = <0>;

				front_video_int = <DVFS_INT_L0>;
				front_video_cam = <DVFS_CAM_L0>;
				front_video_mif = <DVFS_MIF_L0>;
				front_video_i2c = <0>;

				front_video_whd_int = <DVFS_INT_L0>;
				front_video_whd_cam = <DVFS_CAM_L0>;
				front_video_whd_mif = <DVFS_MIF_L0>;
				front_video_whd_i2c = <0>;

				front_video_capture_int = <DVFS_INT_L0>;
				front_video_capture_cam = <DVFS_CAM_L0>;
				front_video_capture_mif = <DVFS_MIF_L0>;
				front_video_capture_i2c = <0>;

				front_video_whd_capture_int = <DVFS_INT_L0>;
				front_video_whd_capture_cam = <DVFS_CAM_L0>;
				front_video_whd_capture_mif = <DVFS_MIF_L0>;
				front_video_whd_capture_i2c = <0>;

				front_vt1_int = <DVFS_INT_L0>;
				front_vt1_cam = <DVFS_CAM_L0>;
				front_vt1_mif = <DVFS_MIF_L0>;
				front_vt1_i2c = <0>;

				front_vt2_int = <DVFS_INT_L0>;
				front_vt2_cam = <DVFS_CAM_L0>;
				front_vt2_mif = <DVFS_MIF_L0>;
				front_vt2_i2c = <0>;

				front_companion_preview_int = <DVFS_INT_L0>;
				front_companion_preview_cam = <DVFS_CAM_L0>;
				front_companion_preview_mif = <DVFS_MIF_L0>;
				front_companion_preview_i2c = <0>;

				front_companion_capture_int = <DVFS_INT_L0>;
				front_companion_capture_cam = <DVFS_CAM_L0>;
				front_companion_capture_mif = <DVFS_MIF_L0>;
				front_companion_capture_i2c = <0>;

				front_companion_video_int = <DVFS_INT_L0>;
				front_companion_video_cam = <DVFS_CAM_L0>;
				front_companion_video_mif = <DVFS_MIF_L0>;
				front_companion_video_i2c = <0>;

				front_companion_video_whd_int = <DVFS_INT_L0>;
				front_companion_video_whd_cam = <DVFS_CAM_L0>;
				front_companion_video_whd_mif = <DVFS_MIF_L0>;
				front_companion_video_whd_i2c = <0>;

				front_companion_video_capture_int = <DVFS_INT_L0>;
				front_companion_video_capture_cam = <DVFS_CAM_L0>;
				front_companion_video_capture_mif = <DVFS_MIF_L0>;
				front_companion_video_capture_i2c = <0>;

				front_companion_video_whd_capture_int = <DVFS_INT_L0>;
				front_companion_video_whd_capture_cam = <DVFS_CAM_L0>;
				front_companion_video_whd_capture_mif = <DVFS_MIF_L0>;
				front_companion_video_whd_capture_i2c = <0>;

				rear_preview_fhd_int = <DVFS_INT_L0>;
				rear_preview_fhd_cam = <DVFS_CAM_L0>;
				rear_preview_fhd_mif = <DVFS_MIF_L0>;
				rear_preview_fhd_i2c = <0>;

				rear_preview_whd_int = <DVFS_INT_L0>;
				rear_preview_whd_cam = <DVFS_CAM_L0>;
				rear_preview_whd_mif = <DVFS_MIF_L0>;
				rear_preview_whd_i2c = <0>;

				rear_preview_uhd_int = <DVFS_INT_L0>;
				rear_preview_uhd_cam = <DVFS_CAM_L0>;
				rear_preview_uhd_mif = <DVFS_MIF_L0>;
				rear_preview_uhd_i2c = <0>;

				rear_capture_int = <DVFS_INT_L0>;
				rear_capture_cam = <DVFS_CAM_L0>;
				rear_capture_mif = <DVFS_MIF_L0>;
				rear_capture_i2c = <0>;

				rear_video_fhd_int = <DVFS_INT_L0>;
				rear_video_fhd_cam = <DVFS_CAM_L0>;
				rear_video_fhd_mif = <DVFS_MIF_L0>;
				rear_video_fhd_i2c = <0>;

				rear_video_uhd_int = <DVFS_INT_L0>;
				rear_video_uhd_cam = <DVFS_CAM_L0>;
				rear_video_uhd_mif = <DVFS_MIF_L0>;
				rear_video_uhd_i2c = <0>;

				rear_video_fhd_capture_int = <DVFS_INT_L0>;
				rear_video_fhd_capture_cam = <DVFS_CAM_L0>;
				rear_video_fhd_capture_mif = <DVFS_MIF_L0>;
				rear_video_fhd_capture_i2c = <0>;

				rear_video_uhd_capture_int = <DVFS_INT_L0>;
				rear_video_uhd_capture_cam = <DVFS_CAM_L0>;
				rear_video_uhd_capture_mif = <DVFS_MIF_L0>;
				rear_video_uhd_capture_i2c = <0>;

				dual_preview_int = <DVFS_INT_L0>;
				dual_preview_cam = <DVFS_CAM_L0>;
				dual_preview_mif = <DVFS_MIF_L0>;
				dual_preview_i2c = <0>;

				dual_capture_int = <DVFS_INT_L0>;
				dual_capture_cam = <DVFS_CAM_L0>;
				dual_capture_mif = <DVFS_MIF_L0>;
				dual_capture_i2c = <0>;

				dual_video_int = <DVFS_INT_L0>;
				dual_video_cam = <DVFS_CAM_L0>;
				dual_video_mif = <DVFS_MIF_L0>;
				dual_video_i2c = <0>;

				dual_video_capture_int = <DVFS_INT_L0>;
				dual_video_capture_cam = <DVFS_CAM_L0>;
				dual_video_capture_mif = <DVFS_MIF_L0>;
				dual_video_capture_i2c = <0>;

				preview_high_speed_fps_int = <DVFS_INT_L0>;
				preview_high_speed_fps_cam = <DVFS_CAM_L0>;
				preview_high_speed_fps_mif = <DVFS_MIF_L0>;
				preview_high_speed_fps_i2c = <0>;

				video_high_speed_60fps_int = <DVFS_INT_L0>;
				video_high_speed_60fps_cam = <DVFS_CAM_L0>;
				video_high_speed_60fps_mif = <DVFS_MIF_L0>;
				video_high_speed_60fps_i2c = <0>;

				video_high_speed_120fps_int = <DVFS_INT_L0>;
				video_high_speed_120fps_cam = <DVFS_CAM_L0>;
				video_high_speed_120fps_mif = <DVFS_MIF_L0>;
				video_high_speed_120fps_i2c = <0>;

				video_high_speed_240fps_int = <DVFS_INT_L0>;
				video_high_speed_240fps_cam = <DVFS_CAM_L0>;
				video_high_speed_240fps_mif = <DVFS_MIF_L0>;
				video_high_speed_240fps_i2c = <0>;

				max_int = <DVFS_INT_L0>;
				max_cam = <DVFS_CAM_L0>;
				max_mif = <DVFS_MIF_L0>;
				max_i2c = <0>;
			};
		};
	};

	fimc_is_module_2p8: fimc-is_sensor_2p8@5A {
		compatible = "samsung,sensor-module-2p8";

		pinctrl-names = "pin0", "pin1";
		pinctrl-0 = <&fimc_is_mclk0_in &fimc_is_flash>;
		pinctrl-1 = <&fimc_is_mclk0_fn &fimc_is_flash>;

		position = <0>; /* Rear:0. Front:1 */
		id = <0>; /* sensor node id */
		mclk_ch = <0>;
		sensor_i2c_ch = <0>; /* I2C 0 */
		sensor_i2c_addr = <0x5A>;

		gpio_reset = <&gpf3 3 0x1>; /* sensor reset */
		gpio_dovdd_en = <&gpd2 3 0x1>; /* DOVDD_1P8 enable pin */
		status = "okay";

		/* TODO : need to update */
		af {
			product_name = <7>;
			i2c_addr = <0x18>;
			i2c_ch = <0>; /* I2C 0 */
		};

		/* TODO : need to update */
		flash {
			product_name = <11>; /* FLASH_GPIO */
			flash_first_gpio = <2>;
			flash_second_gpio = <1>;
		};
	};

	fimc_is_module_6b2: fimc-is_sensor_6b2@20 {
		compatible = "samsung,sensor-module-6b2";

		pinctrl-names = "pin0", "pin1";
		pinctrl-0 = <&fimc_is_mclk1_in>;
		pinctrl-1 = <&fimc_is_mclk1_fn>;

		position = <1>; /* Rear:0. Front:1 */
		id = <1>; /* sensor node id */
		mclk_ch = <1>;
		sensor_i2c_ch = <1>;
		sensor_i2c_addr = <0x6A>;

		gpio_reset = <&gpf3 1 0x1>;
		status = "okay";
	};

	fimc_is_flash_gpio: fimc-is-flash_gpio@0 {
		compatible = "samsung,sensor-flash-gpio";
		id = <0>; /* matching sensor id */
		status = "okay";

		flash-gpio = <&gpd3 2 0>;
		torch-gpio = <&gpd3 3 0>;
	};

	hsi2c_3: hsi2c@138A0000 {
		gpios = <&gpf0 0 0 &gpf0 1 0>;
		status = "okay";
		clock-frequency = <400000>;

		pinctrl-names = "default";
		pinctrl-0 = <&hs_i2c3_bus>;

		fimc-is-2p8@5A {
			compatible = "samsung,exynos5-fimc-is-cis-2p8";
			reg = <0x2D>;
			id = <0>; /* matching sensor id */
			setfile = "default";
		};

		fimc-is-actuator@18 {
			compatible = "samsung,exynos5-fimc-is-actuator-ak7345";
			reg = <0x0C>;
			id = <0>; /* matching sensor id */
		};
	};

	hsi2c_5: hsi2c@138C0000 {
		status = "okay";
		clock-frequency = <400000>;

		fimc-is-6b2@6A {
			compatible = "samsung,exynos5-fimc-is-cis-6b2";
			reg = <0x10>;
			id = <1>; /* matching sensor id */
			setfile = "default";
		};
	};

	#define SENSOR_SCENARIO_NORMAL		0
	#define SENSOR_SCENARIO_VISION		1
	#define SENSOR_SCENARIO_EXTERNAL	2
	#define SENSOR_SCENARIO_OIS_FACTORY	3
	#define SENSOR_SCENARIO_VIRTUAL		9
	#define FLITE_ID_NOTHING 100

	fimc_is_sensor0: fimc_is_sensor@14420000 {
		scenario = <SENSOR_SCENARIO_NORMAL>;	/* Normal, Vision, OIS etc */
		id = <0>;
		csi_ch = <0>;
		flite_ch = <0>;
		is_bns = <1>;
		status = "okay";
	};

	fimc_is_sensor1: fimc_is_sensor@14460000 {
		scenario = <SENSOR_SCENARIO_NORMAL>;	/* Normal, Vision, OIS etc */
		id = <1>;
		csi_ch = <1>;
		flite_ch = <0>;
		is_bns = <1>;
		status = "okay";
	};
};
